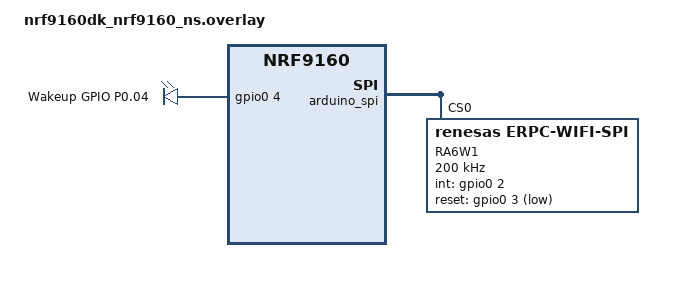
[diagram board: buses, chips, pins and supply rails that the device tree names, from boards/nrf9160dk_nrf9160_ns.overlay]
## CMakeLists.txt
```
cmake_minimum_required(VERSION 3.13.1)

find_package(Zephyr REQUIRED HINTS $ENV{ZEPHYR_BASE})

project(app)

target_sources(app PRIVATE
	${CMAKE_CURRENT_SOURCE_DIR}/src/tests_iface.c
)


include(${CMAKE_CURRENT_SOURCE_DIR}/config/CMakeLists.txt)
```

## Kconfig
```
rsource "config/Kconfig"
```

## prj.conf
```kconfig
CONFIG_LOG=y
CONFIG_LOG_MODE_DEFERRED=y
CONFIG_LOG_BUFFER_SIZE=65536
CONFIG_LOG_BACKEND_UART=n

CONFIG_SHELL=y
CONFIG_SHELL_LOG_BACKEND=y
CONFIG_SHELL_STACK_SIZE=8192
CONFIG_NET_SHELL=y
CONFIG_REBOOT=y

CONFIG_WIFI=y
CONFIG_NET_L2_WIFI_MGMT=y
CONFIG_NET_IPV4=y
CONFIG_NET_TCP=y
CONFIG_DNS_RESOLVER=y
CONFIG_DNS_RESOLVER_AUTO_INIT=y
# Synchronous getaddrinfo() uses this as its DNS query timeout. The default
# (2000 ms) is too short for a DPM cold-wake + eRPC/SPI + network round-trip
# (~2.4 s), which cancels the in-flight query (DNS_EAI_CANCELED = -101) just
# before the reply arrives. Give it enough budget to cover the cold wake.
CONFIG_NET_SOCKETS_DNS_TIMEOUT=10000
# Retry within that budget instead of a single long attempt.
CONFIG_NET_SOCKETS_DNS_BACKOFF_INTERVAL=5000
CONFIG_MBEDTLS_SERVER_NAME_INDICATION=y
CONFIG_NET_SOCKETS_CONNECT_TIMEOUT=30000

CONFIG_NETWORKING=y
CONFIG_NET_MGMT_EVENT_STACK_SIZE=4096
CONFIG_ZVFS_POLL_MAX=16
CONFIG_HTTP_CLIENT=y

CONFIG_TLS_CREDENTIALS=y
CONFIG_NET_SOCKETS_SOCKOPT_TLS=y
CONFIG_MBEDTLS=y
CONFIG_MBEDTLS_ENABLE_HEAP=y
CONFIG_MBEDTLS_HEAP_SIZE=32768
CONFIG_MBEDTLS_ECP_C=y
CONFIG_MBEDTLS_ECDH_C=y
CONFIG_MBEDTLS_ECDSA_C=y
CONFIG_MBEDTLS_ECP_DP_SECP256R1_ENABLED=y
CONFIG_MBEDTLS_KEY_EXCHANGE_ECDHE_ECDSA_ENABLED=y
CONFIG_MBEDTLS_CIPHER_AES_ENABLED=y
CONFIG_MBEDTLS_CIPHER_GCM_ENABLED=y
CONFIG_MBEDTLS_SHA256=y

CONFIG_NET_IPV6=n
CONFIG_HEAP_MEM_POOL_SIZE=65536
CONFIG_NET_CONFIG_AUTO_INIT=n

CONFIG_NET_ZPERF=y
CONFIG_NET_ZPERF_SERVER=y
CONFIG_NET_CONFIG_LOG_LEVEL_DBG=y
CONFIG_WORKQUEUE_WORK_TIMEOUT=y
CONFIG_MAIN_STACK_SIZE=8192
CONFIG_ERPC_DATA_PATH=y
CONFIG_ENTROPY_GENERATOR=y

CONFIG_ZTEST=y
CONFIG_ZTEST_STACK_SIZE=8192
```

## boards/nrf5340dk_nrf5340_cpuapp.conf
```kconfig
CONFIG_TEST_RANDOM_GENERATOR=y
CONFIG_MAIN_STACK_SIZE=4096

CONFIG_SHELL=y
CONFIG_SERIAL=y
CONFIG_CONSOLE=y
CONFIG_UART_CONSOLE=y
CONFIG_PRINTK=y
CONFIG_LOG=y
CONFIG_LOG_BACKEND_UART=y
CONFIG_LOG_MODE_IMMEDIATE=y

# # Enable Device PM to suspend Nordic SPIM EasyDMA during DPM
# CONFIG_PM_DEVICE=y
# CONFIG_PM_DEVICE_RUNTIME=y
```

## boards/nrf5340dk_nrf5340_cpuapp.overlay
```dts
/*
 * Copyright (c) 2025 Renesas Electronics Corporation
 *
 * SPDX-License-Identifier: Apache-2.0
 */

/delete-node/ &qspi;
/delete-node/ &uart1;

/* Disable NFC so P0.09 and P0.10 can be used as GPIOs */
&nfct {
    status = "disabled";
};

/ {
    chosen {
        /delete-property/ zephyr,wifi;
	};
};

&pinctrl {
    spi4_default: spi4_default {
        group1 {
            psels = <NRF_PSEL(SPIM_SCK, 1, 15)>,
                    <NRF_PSEL(SPIM_MISO, 1, 14)>,
                    <NRF_PSEL(SPIM_MOSI, 1, 13)>;
       
        };
    };
    spi4_sleep: spi4_sleep {
        group1 {
            psels = <NRF_PSEL(SPIM_SCK, 1, 15)>,
                    <NRF_PSEL(SPIM_MISO, 1, 14)>,
                    <NRF_PSEL(SPIM_MOSI, 1, 13)>;
           
            low-power-enable;
        };
    };
};

&spi4 {
    compatible = "nordic,nrf-spim";
    status = "okay";
    cs-gpios = <&gpio1 12 (GPIO_ACTIVE_LOW)>;
 
    pinctrl-0 = <&spi4_default>;
    pinctrl-1 = <&spi4_sleep>;
    pinctrl-names = "default", "sleep";
 
    ra6w1_erpc_wifi: ra6w1_erpc_wifi@0 {
        compatible = "renesas,erpc-wifi-spi";
        reg = <0>;
        label = "RA6W1";
        spi-max-frequency = <200000>;
        boot-duration-ms = <2000>;
        int-gpios = <&gpio0 24 (GPIO_ACTIVE_HIGH | GPIO_PULL_DOWN)>;
        reset-gpios = <&gpio1 11 GPIO_ACTIVE_LOW>;
        wakeup-gpios = <&gpio0 10 GPIO_ACTIVE_HIGH>;
        status = "okay";
    };
};
```

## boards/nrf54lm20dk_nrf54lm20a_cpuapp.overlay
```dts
/*
 * Copyright (c) 2025 Renesas Electronics Corporation
 *
 * SPDX-License-Identifier: Apache-2.0
 */

/ {
    chosen {
        /delete-property/ zephyr,wifi;
	};

};

&pinctrl {
    spi22_default: spi22_default {
        group1 {
            psels = <NRF_PSEL(SPIM_SCK, 1, 15)>,
                    <NRF_PSEL(SPIM_MISO, 1, 14)>,
                    <NRF_PSEL(SPIM_MOSI, 1, 13)>;
       
        };
    };
    spi22_sleep: spi22_sleep {
        group1 {
            psels = <NRF_PSEL(SPIM_SCK, 1, 15)>,
                    <NRF_PSEL(SPIM_MISO, 1, 14)>,
                    <NRF_PSEL(SPIM_MOSI, 1, 13)>;
           
            low-power-enable;
        };
    };
};

&spi22 {
    compatible = "nordic,nrf-spim";
    status = "okay";
    cs-gpios = <&gpio1 12 (GPIO_ACTIVE_LOW)>;
 
    pinctrl-0 = <&spi22_default>;
    pinctrl-1 = <&spi22_sleep>;
    pinctrl-names = "default", "sleep";
 
    ra6w1_erpc_wifi: ra6w1_erpc_wifi@0 {
        compatible = "renesas,erpc-wifi-spi";
        reg = <0>;
        label = "RA6W1";
        spi-max-frequency = <200000>;
        int-gpios = <&gpio1 10 (GPIO_ACTIVE_HIGH | GPIO_PULL_DOWN)>;
        reset-gpios = <&gpio1 11 GPIO_ACTIVE_LOW>;
        wakeup-gpios = <&gpio0 3 GPIO_ACTIVE_HIGH>;
        status = "okay";
    };
};
```

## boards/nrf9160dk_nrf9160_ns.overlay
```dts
/*
 * Copyright (c) 2025 Renesas Electronics Corporation
 *
 * SPDX-License-Identifier: Apache-2.0
 */

/ {
    chosen {
        /delete-property/ zephyr,wifi;
    };

    aliases {
        wakeup-gpio = &gpio_wakeup;
    };

    gpio_wakeup {
        compatible = "gpio-leds";
        gpio_wakeup: wakeup_gpio {
            /* Map Wakeup GPIO to Arduino pin D4 (P0.04) */
            gpios = <&gpio0 4 (GPIO_ACTIVE_HIGH | GPIO_PULL_DOWN)>;
            label = "Wakeup GPIO P0.04";
        };
    };
};

&arduino_spi {
    status = "okay";

    ra6w1_erpc_wifi: ra6w1_erpc_wifi@0 {
        compatible = "renesas,erpc-wifi-spi";
        reg = <0>;
        label = "RA6W1";
        spi-max-frequency = <200000>;
        boot-duration-ms = <2000>;

        /* Map INT (Slave-Ready) to Arduino pin D2 (P0.02) */
        int-gpios = <&gpio0 2 (GPIO_ACTIVE_HIGH | GPIO_PULL_DOWN)>;

        /* Map RESET to Arduino pin D3 (P0.03) */
        reset-gpios = <&gpio0 3 GPIO_ACTIVE_LOW>;

        status = "okay";
    };
};
```

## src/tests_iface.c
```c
#include <zephyr/ztest.h>
#include <zephyr/logging/log.h>
#include <zephyr/net/net_if.h>
#include <zephyr/net/wifi_mgmt.h>

#include "utils_iface.h"
#include "utils_dns.h"
#include "utils_iconfig.h"

LOG_MODULE_REGISTER(net_tests, LOG_LEVEL_DBG);
ZTEST_SUITE(net_tests, NULL, NULL, NULL, NULL, NULL);

ZTEST(net_tests, test_version)
{
	for (int i = 0; i < 5; i++) {
		int ret;
		struct wifi_version fw_version = {};

		ret = iface_up();
		zassert_equal(ret, 0, "iface_up failed");

		ret = iface_get_version(&fw_version);
		zassert_equal(ret, 0, "iface_get_version failed");
		LOG_INF("WiFi firmware version: %s", fw_version.drv_version);

		ret = iface_down();
		zassert_equal(ret, 0, "iface_down failed");
	}
}

ZTEST(net_tests, test_dns)
{
	for (int i = 0; i < 5; i++) {
		const char *hostname = "www.sunet.se";
		struct in_addr results[4];
		size_t results_len = ARRAY_SIZE(results), results_cnt;

		iface_connect_if_needed();
		results_cnt = dns_resolve(hostname, results, results_len);
		LOG_INF("Resolved %d addresses for %s", results_cnt, hostname);
		zassert_true(results_cnt > 0, "Failed to resolve %s", hostname);

		int ret = iface_down();
		zassert_equal(ret, 0, "iface_down failed");
		k_sleep(K_SECONDS(3));
	}
}

ZTEST(net_tests, test_iconfig)
{
	for (int i = 0; i < 3; i++) {

		iface_connect_if_needed();
		int ret = utils_iconfig_fetch();
		zassert_equal(ret, 0, "iconfig_fetch failed");

		ret = iface_down();
		zassert_equal(ret, 0, "iface_down failed");
	}
}
```
